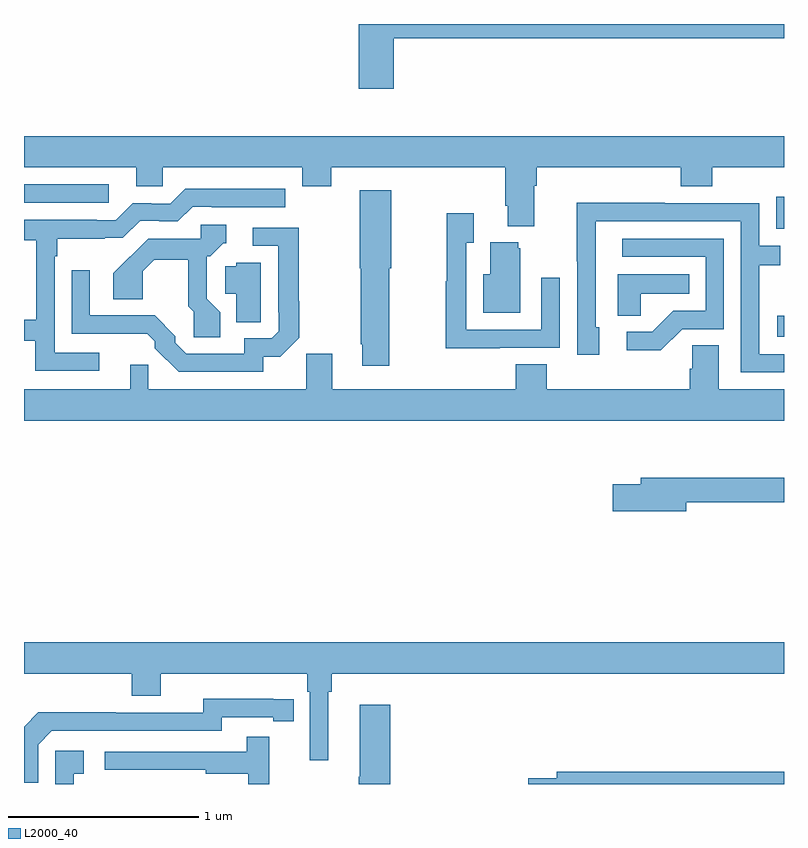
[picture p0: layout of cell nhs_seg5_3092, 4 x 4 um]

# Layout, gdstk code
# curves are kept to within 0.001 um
import gdstk
lib = gdstk.Library(unit=1e-6, precision=1e-09)
def R(c, l, rs):  # rectangles x0, y0, x1, y1
    for r in rs: c.add(gdstk.rectangle(r[:2], r[2:], *l))
def P(c, l, *ps):  # polygons
    for p in ps: c.add(gdstk.Polygon(p, *l))
L2000_40 = (2000, 40)

nhs_seg5_3092 = lib.new_cell('nhs_seg5_3092')
R(nhs_seg5_3092, L2000_40, [(292.965,905.153,293,905.263), (292.959,905.721,293,905.89), (289,905.859,289.447,905.955)])
P(nhs_seg5_3092, L2000_40, [(290.945,906.724),(293,906.724),(293,906.799),(290.762,906.799),(290.762,906.459),(290.945,906.459)],
  [(289,906.044),(289.592,906.044),(289.592,905.946),(289.731,905.946),(289.731,906.044),(290.465,906.044),(290.465,905.945),(290.618,905.945),(290.618,906.044),(291.533,906.044),(291.533,905.842),(291.545,905.842),(291.545,905.735),(291.685,905.735),(291.685,905.948),(291.698,905.948),(291.698,906.044),(292.457,906.044),(292.457,905.945),(292.622,905.945),(292.622,906.044),(293,906.044),(293,906.208),(289,906.208)],
  [(289.396,905.07),(289.161,905.07),(289.161,905.576),(289.174,905.576),(289.174,905.67),(289.424,905.67),(289.424,905.673),(289.521,905.673),(289.611,905.763),(289.712,905.763),(289.712,905.76),(289.809,905.76),(289.887,905.838),(289.987,905.838),(289.987,905.835),(290.374,905.835),(290.374,905.931),(289.849,905.932),(289.77,905.853),(289.67,905.853),(289.67,905.856),(289.572,905.856),(289.482,905.766),(289.382,905.766),(289.382,905.769),(289,905.769),(289,905.661),(289.064,905.661),(289.064,905.242),(289,905.242),(289,905.132),(289.06,905.132),(289.06,904.974),(289.396,904.974)],
  [(290.922,905.514),(290.932,905.514),(290.932,905.923),(290.767,905.923),(290.767,905.514),(290.773,905.514),(290.773,905.113),(290.78,905.113),(290.78,905.001),(290.922,905.001)],
  [(293,905.061),(292.869,905.061),(292.869,905.53),(292.979,905.53),(292.979,905.631),(292.869,905.631),(292.869,905.856),(292.373,905.856),(292.373,905.858),(291.91,905.858),(291.91,905.551),(291.912,905.551),(291.912,905.058),(292.027,905.058),(292.027,905.202),(292.008,905.202),(292.008,905.76),(292.773,905.76),(292.773,904.965),(293,904.965)],
  [(291.503,905.094),(291.819,905.094),(291.819,905.464),(291.723,905.464),(291.723,905.19),(291.327,905.19),(291.327,905.647),(291.367,905.647),(291.367,905.803),(291.226,905.803),(291.226,905.444),(291.219,905.444),(291.219,905.093),(291.503,905.093)],
  [(290.032,905.282),(289.962,905.352),(289.962,905.577),(289.98,905.577),(290.049,905.646),(290.065,905.646),(290.065,905.742),(289.929,905.742),(289.929,905.67),(289.655,905.67),(289.558,905.573),(289.557,905.574),(289.47,905.486),(289.47,905.35),(289.624,905.35),(289.624,905.498),(289.685,905.559),(289.864,905.559),(289.864,905.314),(289.893,905.285),(289.893,905.151),(290.032,905.151)],
  [(290.259,905.049),(290.348,905.049),(290.448,905.148),(290.448,905.339),(290.446,905.339),(290.446,905.727),(290.205,905.727),(290.205,905.631),(290.337,905.631),(290.337,905.281),(290.34,905.281),(290.34,905.181),(290.304,905.145),(290.16,905.145),(290.16,905.064),(289.854,905.064),(289.797,905.121),(289.797,905.155),(289.687,905.265),(289.347,905.265),(289.347,905.503),(289.251,905.503),(289.251,905.169),(289.648,905.168),(289.689,905.128),(289.689,905.093),(289.814,904.968),(290.259,904.968)],
  [(292.464,905.193),(292.683,905.193),(292.683,905.67),(292.149,905.67),(292.149,905.574),(292.587,905.574),(292.587,905.289),(292.418,905.289),(292.307,905.178),(292.173,905.178),(292.173,905.081),(292.351,905.081)],
  [(291.613,905.619),(291.602,905.619),(291.602,905.65),(291.455,905.65),(291.455,905.482),(291.416,905.482),(291.416,905.279),(291.613,905.279)],
  [(290.247,905.542),(290.118,905.542),(290.118,905.523),(290.058,905.523),(290.058,905.378),(290.117,905.378),(290.117,905.23),(290.247,905.23)],
  [(292.245,905.378),(292.502,905.378),(292.502,905.482),(292.124,905.482),(292.124,905.263),(292.245,905.263)],
  [(293,904.876),(292.657,904.876),(292.657,905.108),(292.518,905.108),(292.518,904.985),(292.505,904.985),(292.505,904.876),(291.752,904.876),(291.752,905.009),(291.587,905.009),(291.587,904.876),(290.623,904.876),(290.623,905.064),(290.485,905.064),(290.485,904.876),(289.655,904.876),(289.655,905.006),(289.559,905.006),(289.559,904.876),(289,904.876),(289,904.712),(293,904.712)],
  [(292.486,904.282),(293,904.282),(293,904.411),(292.247,904.411),(292.247,904.377),(292.098,904.377),(292.098,904.235),(292.486,904.235)],
  [(290.602,903.284),(290.621,903.284),(290.621,903.38),(293,903.38),(293,903.544),(289,903.544),(289,903.38),(289.568,903.38),(289.568,903.263),(289.72,903.263),(289.72,903.38),(290.492,903.38),(290.492,903.284),(290.505,903.284),(290.505,902.925),(290.602,902.925)],
  [(289.074,903.006),(289.146,903.078),(290.04,903.078),(290.04,903.15),(290.312,903.15),(290.312,903.13),(290.42,903.13),(290.42,903.246),(289.944,903.247),(289.944,903.174),(289.484,903.174),(289.484,903.176),(289.076,903.176),(289,903.1),(289,902.805),(289.074,902.805)],
  [(290.927,903.217),(290.768,903.217),(290.768,902.837),(290.761,902.837),(290.761,902.799),(290.927,902.799)],
  [(290.291,903.049),(290.173,903.049),(290.173,902.97),(289.425,902.97),(289.425,902.874),(289.957,902.874),(289.957,902.854),(290.181,902.854),(290.181,902.799),(290.291,902.799)],
  [(289.262,902.853),(289.315,902.853),(289.315,902.974),(289.164,902.974),(289.164,902.799),(289.262,902.799)],
  [(293,902.864),(291.803,902.864),(291.803,902.828),(291.654,902.828),(291.654,902.799),(293,902.799)])

lib.write_gds('nhs_seg5_3092.gds')
